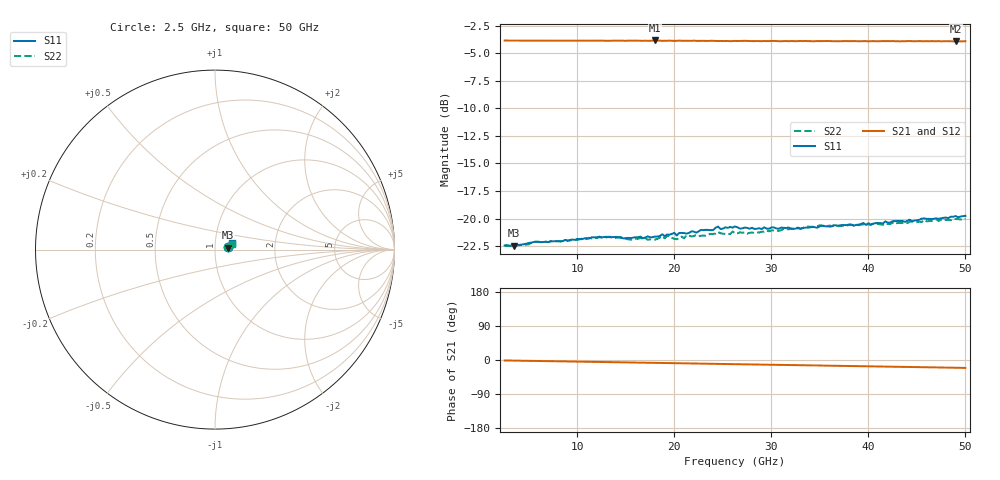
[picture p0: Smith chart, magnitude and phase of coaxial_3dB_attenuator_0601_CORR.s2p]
!Created with skrf (http://scikit-rf.org).
# Hz S RI R 50.0
!freq ReS11 ImS11 ReS21 ImS21 ReS12 ImS12 ReS22 ImS22
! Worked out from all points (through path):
!   191 points, 2.5 GHz to 50 GHz, reference 50 ohm
!   highest |S21| = -3.85 dB at 18 GHz (marker M1); lowest = -3.9 dB at 49 GHz (marker M2)
!   group delay of S21, straight-line fit = 1.15 ps
!   lowest |S11| = -22.5 dB at 3.5 GHz (marker M3), VSWR 1.16, Z = 58 + j1.35 ohm
!   |S11| at or under -10 dB: start of sweep to end of sweep
!   |S22| runs from -22.5 to -20.0 dB; largest |S21 - S12| = 0.0013
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2.5e9  0.0743 0.0134  0.6413 -0.0136  0.6416 -0.0137  0.0742 0.0131
3.5e9  0.0745 0.0116  0.6411 -0.0178  0.6414 -0.0179  0.0744 0.0116
5.5e9  0.0773 0.0121  0.6402 -0.0271  0.6405 -0.0271  0.0777 0.0124
1.05e10  0.0796 0.013  0.6384 -0.05  0.6388 -0.0498  0.0802 0.012
1.275e10  0.0814 0.0133  0.6371 -0.0606  0.6375 -0.0603  0.0821 0.012
1.8e10  0.0807 0.0186  0.6365 -0.0845  0.6368 -0.0846  0.0786 0.0159
1.85e10  0.0808 0.0202  0.6348 -0.0872  0.6351 -0.0871  0.0802 0.0161
1.95e10  0.082 0.0205  0.6344 -0.092  0.6346 -0.0921  0.082 0.0162
2e10  0.0834 0.0216  0.6322 -0.0934  0.6324 -0.0938  0.0793 0.0161
2.025e10  0.0812 0.0207  0.6326 -0.095  0.6328 -0.0952  0.0785 0.0179
2.1e10  0.0831 0.0217  0.6324 -0.0985  0.6327 -0.0986  0.0794 0.0174
2.125e10  0.0827 0.0214  0.6325 -0.0994  0.6327 -0.0995  0.0815 0.02
2.325e10  0.0861 0.0222  0.6298 -0.1078  0.63 -0.1085  0.0812 0.0197
2.4e10  0.0855 0.0235  0.6296 -0.1126  0.6299 -0.113  0.0826 0.0206
2.45e10  0.0889 0.0236  0.6278 -0.1144  0.628 -0.1147  0.0842 0.0215
2.475e10  0.0869 0.0222  0.6284 -0.1149  0.6287 -0.1151  0.0836 0.019
2.625e10  0.0889 0.0239  0.6274 -0.121  0.6278 -0.1209  0.0832 0.0216
2.9e10  0.0865 0.0232  0.6232 -0.1331  0.6235 -0.1333  0.0841 0.0226
3.425e10  0.0881 0.0259  0.6168 -0.1567  0.617 -0.1569  0.0879 0.0257
4.225e10  0.0908 0.0307  0.6074 -0.1927  0.6077 -0.1921  0.09 0.0291
4.9e10  0.0966 0.0344  0.5955 -0.2217  0.5954 -0.2223  0.0943 0.0314
5e10  0.0966 0.0356  0.5949 -0.2275  0.5953 -0.227  0.0943 0.0323
